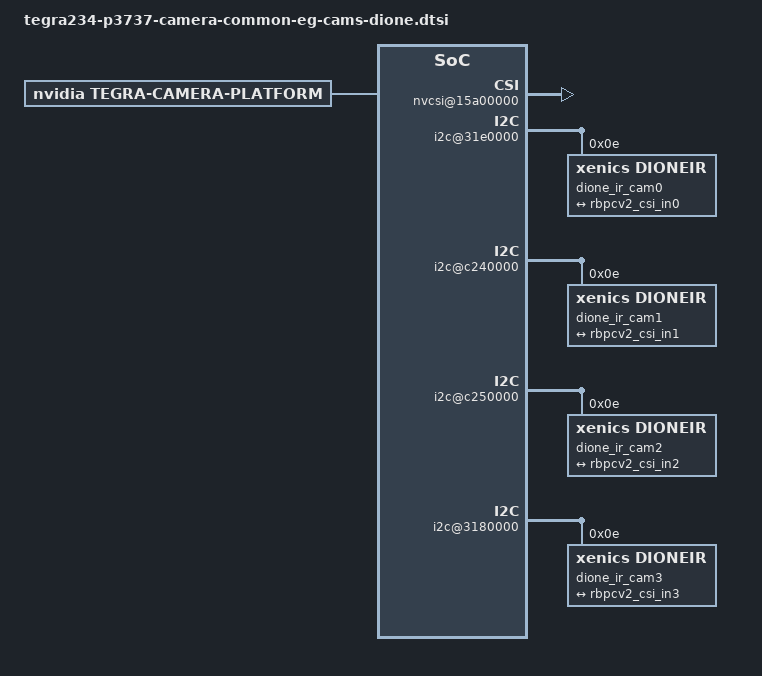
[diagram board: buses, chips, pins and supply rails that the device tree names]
/dts-v1/;
/plugin/;

/ {
	fragment@0 {
		target-path = "/";
		__overlay__ {
			tegra-capture-vi {
				status = "okay";
				num-channels = <4>;
				ports {
					status = "okay";
					#address-cells = <1>;
					#size-cells = <0>;
					port@0 {								//M222 CSI 01		
						status = "okay";
						reg = <0>;
						endpoint {
							status = "okay";
							port-index = <0>;
							bus-width = <2>;
						};
					};
					port@1 {								//M222 CSI 67		
						status = "okay";
						reg = <1>;
						endpoint {
							status = "okay";
							port-index = <5>;
							bus-width = <2>;
						};
					};
					port@2 {								//M222 CSI 45	
						status = "okay";
						reg = <2>;
						endpoint {
							status = "okay";
							port-index = <4>;
							bus-width = <2>;
						};
					};
					port@3 {								//M222 CSI 23
						status = "okay";
						reg = <3>;
						endpoint {
							status = "okay";
							port-index = <2>;
							bus-width = <2>;
						};
					};
				};
			};

			tegra-camera-platform {
				compatible = "nvidia, tegra-camera-platform";

				num_csi_lanes = <8>;
				max_lane_speed = <1500000>;
				min_bits_per_pixel = <10>;
				vi_peak_byte_per_pixel = <2>;
				vi_bw_margin_pct = <25>;
				max_pixel_rate = <240000>;
				isp_peak_byte_per_pixel = <5>;
				isp_bw_margin_pct = <25>;

				modules {
					module0 {
						badge = "topright_eg_cam";
						position = "topright";
						orientation = "1";
						drivernode0 {
							pcl_id = "v4l2_sensor";
							devname = "dione_ir 8-0016";
							proc-device-tree = "/proc/device-tree/i2c@31e0000/xenics_dione_ir_a@0e";
						};
					};
					module1 {
						badge = "bottomright_eg_cam";
						position = "bottomright";
						orientation = "1";
						drivernode0 {
							pcl_id = "v4l2_sensor";
							devname = "dione_ir 1-0016";
							proc-device-tree = "/proc/device-tree/i2c@c240000/xenics_dione_ir_g@0e";
						};
					};
					module2 {
						badge = "topleft_eg_cam";
						position = "topleft";
						orientation = "1";
						drivernode0 {
							pcl_id = "v4l2_sensor";
							devname = "dione_ir 7-0016";
							proc-device-tree = "/proc/device-tree/i2c@c250000/xenics_dione_ir_e@0e";
						};
					};
					module3 {
						badge = "bottomleft_eg_cam";
						position = "bottomleft";
						orientation = "1";
						drivernode0 {
							pcl_id = "v4l2_sensor";
							devname = "dione_ir 2-0016";
							proc-device-tree = "/proc/device-tree/i2c@3180000/xenics_dione_ir_e@0e";
						};
					};
				};
			};

			bus@0 {
				host1x@13e00000 {
					nvcsi@15a00000 {
						status = "okay";
						num-channels = <4>;
						#address-cells = <1>;
						#size-cells = <0>;
						channel@0 {								//M222 CSI 01		
							status = "okay";
							reg = <0>;
							ports {
								status = "okay";
								#address-cells = <1>;
								#size-cells = <0>;
								port@0 {
									status = "okay";
									reg = <0>;
									endpoint@0 {
										status = "okay";
										port-index = <0>;
										bus-width = <2>;
										remote-endpoint = <&xenics_dione_ir_out0>;
									};
								};
							};
						};
						channel@1 {								//M222 CSI 67		
							status = "okay";
							reg = <1>;
							ports {
								status = "okay";
								#address-cells = <1>;
								#size-cells = <0>;
								port@0 {
									status = "okay";
									reg = <0>;
									endpoint@2 {
										status = "okay";
										port-index = <6>;
										bus-width = <2>;
										remote-endpoint = <&xenics_dione_ir_out1>;
									};
								};
							};
						};
						channel@2 {								//M222 CSI 45		
							status = "okay";
							reg = <2>;
							ports {
								status = "okay";
								#address-cells = <1>;
								#size-cells = <0>;
								port@0 {
									status = "okay";
									reg = <0>;
									endpoint@4 {
										status = "okay";
										port-index = <4>;
										bus-width = <2>;
										remote-endpoint = <&xenics_dione_ir_out2>;
									};
								};
							};
						};
						channel@3 {								//M222 CSI 23
							status = "okay";
							reg = <3>;
							ports {
								status = "okay";
								#address-cells = <1>;
								#size-cells = <0>;
								port@0 {
									status = "okay";
									reg = <0>;
									endpoint@6 {
										status = "okay";
										port-index = <2>;
										bus-width = <2>;
										remote-endpoint = <&xenics_dione_ir_out3>;
									};
								};
							};
						};
					};
				};

				i2c@31e0000 {											//M222 CSI 01		
				  dione_ir_cam0: xenics_dione_ir_a@0e {
					 compatible = "xenics,dioneir";
					 /* I2C device address */
					 reg = <0x0e>;
					 fpga-address = <0x5a 0x5b 0x5c 0x5d>;

					 /* V4L2 device node location */
					 devnode = "video0";

					 /* Physical dimensions of sensor */
					 physical_w = "7.680";
					 physical_h = "5.760";

					 sensor_model = "dione_ir";

					 use_sensor_mode_id = "false";

					 /**
					 * ==== Modes ====
					 * A modeX node is required to support v4l2 driver
					 * implementation with NVIDIA camera software stack
					 *
					 * == Signal properties ==
					 *
					 * phy_mode = "";
					 * PHY mode used by the MIPI lanes for this device
					 *
					 * tegra_sinterface = "";
					 * CSI Serial interface connected to tegra
					 * Incase of virtual HW devices, use virtual
					 * For SW emulated devices, use host
					 *
					 * pix_clk_hz = "";
					 * Sensor pixel clock used for calculations like exposure and framerate
					 *
					 * readout_orientation = "0";
					 * Based on camera module orientation.
					 * Only change readout_orientation if you specifically
					 * Program a different readout order for this mode
					 *
					 * == Image format Properties ==
					 *
					 * active_w = "";
					 * Pixel active region width
					 *
					 * active_h = "";
					 * Pixel active region height
					 *
					 * pixel_t = "";
					 * The sensor readout pixel pattern
					 *
					 * line_length = "";
					 * Pixel line length (width) for sensor mode.
					 *
					 * == Source Control Settings ==
					 *
					 * Gain factor used to convert fixed point integer to float
					 * Gain range [min_gain/gain_factor, max_gain/gain_factor]
					 * Gain step [step_gain/gain_factor is the smallest step that can be configured]
					 * Default gain [Default gain to be initialized for the control.
					 *     use min_gain_val as default for optimal results]
					 * Framerate factor used to convert fixed point integer to float
					 * Framerate range [min_framerate/framerate_factor, max_framerate/framerate_factor]
					 * Framerate step [step_framerate/framerate_factor is the smallest step that can be configured]
					 * Default Framerate [Default framerate to be initialized for the control.
					 *     use max_framerate to get required performance]
					 * Exposure factor used to convert fixed point integer to float
					 * For convenience use 1 sec = 1000000us as conversion factor
					 * Exposure range [min_exp_time/exposure_factor, max_exp_time/exposure_factor]
					 * Exposure step [step_exp_time/exposure_factor is the smallest step that can be configured]
					 * Default Exposure Time [Default exposure to be initialized for the control.
					 *     Set default exposure based on the default_framerate for optimal exposure settings]
					 *
					 * gain_factor = ""; (integer factor used for floating to fixed point conversion)
					 * min_gain_val = ""; (ceil to integer)
					 * max_gain_val = ""; (ceil to integer)
					 * step_gain_val = ""; (ceil to integer)
					 * default_gain = ""; (ceil to integer)
					 * Gain limits for mode
					 *
					 * exposure_factor = ""; (integer factor used for floating to fixed point conversion)
					 * min_exp_time = ""; (ceil to integer)
					 * max_exp_time = ""; (ceil to integer)
					 * step_exp_time = ""; (ceil to integer)
					 * default_exp_time = ""; (ceil to integer)
					 * Exposure Time limits for mode (sec)
					 *
					 * framerate_factor = ""; (integer factor used for floating to fixed point conversion)
					 * min_framerate = ""; (ceil to integer)
					 * max_framerate = ""; (ceil to integer)
					 * step_framerate = ""; (ceil to integer)
					 * default_framerate = ""; (ceil to integer)
					 * Framerate limits for mode (fps)
					 *
					 * embedded_metadata_height = "";
					 * Sensor embedded metadata height in units of rows.
					 * If sensor does not support embedded metadata value should be 0.
					 */
					 
					 mode0 { /* DIONE_IR_MODE_640x480_60FPS */
						mclk_khz = "24000";
						num_lanes = "2";
						tegra_sinterface = "serial_a";
						phy_mode = "DPHY";
						discontinuous_clk = "no";
						dpcm_enable = "false";
						cil_settletime = "0";

						active_w = "640";
						active_h = "480";
						mode_type = "rgb";
						pixel_phase = "rgb888";
						csi_pixel_bit_depth = "24";
						readout_orientation = "0";
						line_length = "694";
						/* inherent_gain = "1"; */
						/* mclk_multiplier = "9.33"; */
						pix_clk_hz = "20000000";

						/* unused */
						gain_factor = "16";
						exposure_factor = "1000000";
						min_gain_val = "16"; /* 1.00x */
						max_gain_val = "170"; /* 10.66x */
						step_gain_val = "1";
						default_gain = "16"; /* 1.00x */
						min_hdr_ratio = "1";
						max_hdr_ratio = "1";

						/* framerate */
						framerate_factor = "1000000";
						min_framerate = "40000000"; /* 40 fps */
						max_framerate = "62000000"; /* 62 fps */
						step_framerate = "1";
						default_framerate = "60020000"; /* 60.020 fps */

						/* unused */
						min_exp_time = "13"; /* us */
						max_exp_time = "683709"; /* us */
						step_exp_time = "1";
						default_exp_time = "2495"; /* us */

						embedded_metadata_height = "0";
					 };

					 mode1 { /* DIONE_IR_MODE_1280x1024_60FPS */
						mclk_khz = "24000";
						num_lanes = "2";
						tegra_sinterface = "serial_a";
						phy_mode = "DPHY";
						discontinuous_clk = "no";
						dpcm_enable = "false";
						cil_settletime = "0";

						active_w = "1280";
						active_h = "1024";
						mode_type = "rgb";
						pixel_phase = "rgb888";
						csi_pixel_bit_depth = "24";
						readout_orientation = "0";
						line_length = "1334";
						/* inherent_gain = "1"; */
						/* mclk_multiplier = "9.33"; */
						pix_clk_hz = "83000000";

						/* unused */
						gain_factor = "16";
						exposure_factor = "1000000";
						min_gain_val = "16"; /* 1.00x */
						max_gain_val = "170"; /* 10.66x */
						step_gain_val = "1";
						default_gain = "16"; /* 1.00x */
						min_hdr_ratio = "1";
						max_hdr_ratio = "1";

						/* framerate */
						framerate_factor = "1000000";
						min_framerate = "40000000"; /* 40 fps */
						max_framerate = "62000000"; /* 62 fps */
						step_framerate = "1";
						default_framerate = "60756000"; /* 60.756 fps */

						/* unused */
						min_exp_time = "13"; /* us */
						max_exp_time = "683709"; /* us */
						step_exp_time = "1";
						default_exp_time = "2495"; /* us */

						embedded_metadata_height = "0";
					 };

					 mode2 { /* DIONE_IR_MODE_320x240_60FPS */
						mclk_khz = "24000";
						num_lanes = "2";
						tegra_sinterface = "serial_a";
						phy_mode = "DPHY";
						discontinuous_clk = "no";
						dpcm_enable = "false";
						cil_settletime = "0";

						active_w = "320";
						active_h = "240";
						mode_type = "rgb";
						pixel_phase = "rgb888";
						csi_pixel_bit_depth = "24";
						readout_orientation = "0";
						line_length = "1404";
						/* inherent_gain = "1"; */
						/* mclk_multiplier = "9.33"; */
						pix_clk_hz = "20000000";

						/* unused */
						gain_factor = "16";
						exposure_factor = "1000000";
						min_gain_val = "16"; /* 1.00x */
						max_gain_val = "170"; /* 10.66x */
						step_gain_val = "1";
						default_gain = "16"; /* 1.00x */
						min_hdr_ratio = "1";
						max_hdr_ratio = "1";

						/* framerate */
						framerate_factor = "1000000";
						min_framerate = "40000000"; /* 40 fps */
						max_framerate = "62000000"; /* 62 fps */
						step_framerate = "1";
						default_framerate = "60020000"; /* 60.020 fps */

						/* unused */
						min_exp_time = "13"; /* us */
						max_exp_time = "683709"; /* us */
						step_exp_time = "1";
						default_exp_time = "2495"; /* us */

						embedded_metadata_height = "0";
					 };

					 mode3 { /* DIONE_IR_MODE_1024x768_60FPS */
						mclk_khz = "24000";
						num_lanes = "2";
						tegra_sinterface = "serial_a";
						phy_mode = "DPHY";
						discontinuous_clk = "no";
						dpcm_enable = "false";
						cil_settletime = "0";

						active_w = "1024";
						active_h = "768";
						mode_type = "rgb";
						pixel_phase = "rgb888";
						csi_pixel_bit_depth = "24";
						readout_orientation = "0";
						line_length = "1079";
						/* inherent_gain = "1"; */
						/* mclk_multiplier = "9.33"; */
						pix_clk_hz = "83000000";

						/* unused */
						gain_factor = "16";
						exposure_factor = "1000000";
						min_gain_val = "16"; /* 1.00x */
						max_gain_val = "170"; /* 10.66x */
						step_gain_val = "1";
						default_gain = "16"; /* 1.00x */
						min_hdr_ratio = "1";
						max_hdr_ratio = "1";

						/* framerate */
						framerate_factor = "1000000";
						min_framerate = "40000000"; /* 40 fps */
						max_framerate = "62000000"; /* 62 fps */
						step_framerate = "1";
						default_framerate = "60756000"; /* 60.756 fps */

						/* unused */
						min_exp_time = "13"; /* us */
						max_exp_time = "683709"; /* us */
						step_exp_time = "1";
						default_exp_time = "2495"; /* us */

						embedded_metadata_height = "0";
					 };

					 ports {
						#address-cells = <1>;
						#size-cells = <0>;
						port@0 {
						   reg = <0>;
						   xenics_dione_ir_out0: endpoint {
							  port-index = <0>;
							  bus-width = <2>;
							  remote-endpoint = <&rbpcv2_csi_in0>;
							  link-frequencies = /bits/ 64 <120000000 497000000>;
						   };
						};
					 };
				  };
				  eg_ec_cam0: eg_ec_a@16 {
					 compatible = "xenics,eg-ec-mipi";
					 /* I2C device address */
					 reg = <0x16>;
					 status = "disabled";

					 /* V4L2 device node location */
					 devnode = "video0";

					 sensor_model = "eg_ec";

					 use_sensor_mode_id = "true";

					 /**
					 * ==== Modes ====
					 * A modeX node is required to support v4l2 driver
					 * implementation with NVIDIA camera software stack
					 *
					 * == Signal properties ==
					 *
					 * phy_mode = "";
					 * PHY mode used by the MIPI lanes for this device
					 *
					 * tegra_sinterface = "";
					 * CSI Serial interface connected to tegra
					 * Incase of virtual HW devices, use virtual
					 * For SW emulated devices, use host
					 *
					 * pix_clk_hz = "";
					 * Sensor pixel clock used for calculations like exposure and framerate
					 *
					 * readout_orientation = "0";
					 * Based on camera module orientation.
					 * Only change readout_orientation if you specifically
					 * Program a different readout order for this mode
					 *
					 * == Image format Properties ==
					 *
					 * active_w = "";
					 * Pixel active region width
					 *
					 * active_h = "";
					 * Pixel active region height
					 *
					 * pixel_t = "";
					 * The sensor readout pixel pattern
					 *
					 * line_length = "";
					 * Pixel line length (width) for sensor mode.
					 *
					 * == Source Control Settings ==
					 *
					 * Gain factor used to convert fixed point integer to float
					 * Gain range [min_gain/gain_factor, max_gain/gain_factor]
					 * Gain step [step_gain/gain_factor is the smallest step that can be configured]
					 * Default gain [Default gain to be initialized for the control.
					 *     use min_gain_val as default for optimal results]
					 * Framerate factor used to convert fixed point integer to float
					 * Framerate range [min_framerate/framerate_factor, max_framerate/framerate_factor]
					 * Framerate step [step_framerate/framerate_factor is the smallest step that can be configured]
					 * Default Framerate [Default framerate to be initialized for the control.
					 *     use max_framerate to get required performance]
					 * Exposure factor used to convert fixed point integer to float
					 * For convenience use 1 sec = 1000000us as conversion factor
					 * Exposure range [min_exp_time/exposure_factor, max_exp_time/exposure_factor]
					 * Exposure step [step_exp_time/exposure_factor is the smallest step that can be configured]
					 * Default Exposure Time [Default exposure to be initialized for the control.
					 *     Set default exposure based on the default_framerate for optimal exposure settings]
					 *
					 * gain_factor = ""; (integer factor used for floating to fixed point conversion)
					 * min_gain_val = ""; (ceil to integer)
					 * max_gain_val = ""; (ceil to integer)
					 * step_gain_val = ""; (ceil to integer)
					 * default_gain = ""; (ceil to integer)
					 * Gain limits for mode
					 *
					 * exposure_factor = ""; (integer factor used for floating to fixed point conversion)
					 * min_exp_time = ""; (ceil to integer)
					 * max_exp_time = ""; (ceil to integer)
					 * step_exp_time = ""; (ceil to integer)
					 * default_exp_time = ""; (ceil to integer)
					 * Exposure Time limits for mode (sec)
					 *
					 * framerate_factor = ""; (integer factor used for floating to fixed point conversion)
					 * min_framerate = ""; (ceil to integer)
					 * max_framerate = ""; (ceil to integer)
					 * step_framerate = ""; (ceil to integer)
					 * default_framerate = ""; (ceil to integer)
					 * Framerate limits for mode (fps)
					 *
					 * embedded_metadata_height = "";
					 * Sensor embedded metadata height in units of rows.
					 * If sensor does not support embedded metadata value should be 0.
					 */
					 mode0 { // EC_MODE_640x480_RAW16
						num_lanes = "2";
						tegra_sinterface = "serial_a";
						phy_mode = "DPHY";
						discontinuous_clk = "yes";
						dpcm_enable = "false";
						cil_settletime = "0";
						active_w = "640";
						active_h = "480";
						line_length = "640";
						mode_type = "raw";
						pixel_phase = "grey";
						csi_pixel_bit_depth = "16";
						pix_clk_hz = "100000000";
						embedded_metadata_height = "0";

						/* unused */
						gain_factor = "16";
						exposure_factor = "1000000";
						min_gain_val = "16"; /* 1.00x */
						max_gain_val = "170"; /* 10.66x */
						step_gain_val = "1";
						default_gain = "16"; /* 1.00x */
						min_hdr_ratio = "1";
						max_hdr_ratio = "1";

						/* framerate */
						framerate_factor = "1000000";
						min_framerate = "40000000"; /* 40 fps */
						max_framerate = "62000000"; /* 62 fps */
						step_framerate = "1";
						default_framerate = "60756000"; /* 60.756 fps */

						/* unused */
						min_exp_time = "13"; /* us */
						max_exp_time = "683709"; /* us */
						step_exp_time = "1";
						default_exp_time = "2495"; /* us */
					 };
					 mode1 { // EC_MODE_640x480_RGB888
						num_lanes = "2";
						tegra_sinterface = "serial_a";
						phy_mode = "DPHY";
						discontinuous_clk = "yes";
						dpcm_enable = "false";
						cil_settletime = "0";
						active_w = "640";
						active_h = "480";
						line_length = "640";
						mode_type = "rgb";
						pixel_phase = "rgb888";
						csi_pixel_bit_depth = "24";
						pix_clk_hz = "100000000";
						embedded_metadata_height = "0";

						/* unused */
						gain_factor = "16";
						exposure_factor = "1000000";
						min_gain_val = "16"; /* 1.00x */
						max_gain_val = "170"; /* 10.66x */
						step_gain_val = "1";
						default_gain = "16"; /* 1.00x */
						min_hdr_ratio = "1";
						max_hdr_ratio = "1";

						/* framerate */
						framerate_factor = "1000000";
						min_framerate = "40000000"; /* 40 fps */
						max_framerate = "62000000"; /* 62 fps */
						step_framerate = "1";
						default_framerate = "60756000"; /* 60.756 fps */

						/* unused */
						min_exp_time = "13"; /* us */
						max_exp_time = "683709"; /* us */
						step_exp_time = "1";
						default_exp_time = "2495"; /* us */

					 };
					 mode2 { // EC_MODE_640x480_YUYV
						num_lanes = "2";
						tegra_sinterface = "serial_a";
						phy_mode = "DPHY";
						discontinuous_clk = "yes";
						dpcm_enable = "false";
						cil_settletime = "0";
						active_w = "640";
						active_h = "480";
						line_length = "640";
						mode_type = "yuv";
						pixel_phase = "yuyv";
						csi_pixel_bit_depth = "16";
						pix_clk_hz = "100000000";
						embedded_metadata_height = "0";

						/* unused */
						gain_factor = "16";
						exposure_factor = "1000000";
						min_gain_val = "16"; /* 1.00x */
						max_gain_val = "170"; /* 10.66x */
						step_gain_val = "1";
						default_gain = "16"; /* 1.00x */
						min_hdr_ratio = "1";
						max_hdr_ratio = "1";

						/* framerate */
						framerate_factor = "1000000";
						min_framerate = "40000000"; /* 40 fps */
						max_framerate = "62000000"; /* 62 fps */
						step_framerate = "1";
						default_framerate = "60756000"; /* 60.756 fps */

						/* unused */
						min_exp_time = "13"; /* us */
						max_exp_time = "683709"; /* us */
						step_exp_time = "1";
						default_exp_time = "2495"; /* us */
					 };
					 mode3 { // EC_MODE_1280x1024_RAW16
						num_lanes = "2";
						tegra_sinterface = "serial_a";
						phy_mode = "DPHY";
						discontinuous_clk = "yes";
						dpcm_enable = "false";
						cil_settletime = "0";
						active_w = "1280";
						active_h = "1024";
						line_length = "1280";
						mode_type = "raw";
						pixel_phase = "grey";
						csi_pixel_bit_depth = "16";
						pix_clk_hz = "133333336";
						embedded_metadata_height = "0";

						/* unused */
						gain_factor = "16";
						exposure_factor = "1000000";
						min_gain_val = "16"; /* 1.00x */
						max_gain_val = "170"; /* 10.66x */
						step_gain_val = "1";
						default_gain = "16"; /* 1.00x */
						min_hdr_ratio = "1";
						max_hdr_ratio = "1";

						/* framerate */
						framerate_factor = "1000000";
						min_framerate = "40000000"; /* 40 fps */
						max_framerate = "62000000"; /* 62 fps */
						step_framerate = "1";
						default_framerate = "60756000"; /* 60.756 fps */

						/* unused */
						min_exp_time = "13"; /* us */
						max_exp_time = "683709"; /* us */
						step_exp_time = "1";
						default_exp_time = "2495"; /* us */
					 };
					 mode4 { // EC_MODE_1280x1024_RGB888
						num_lanes = "2";
						tegra_sinterface = "serial_a";
						phy_mode = "DPHY";
						discontinuous_clk = "yes";
						dpcm_enable = "false";
						cil_settletime = "0";
						active_w = "1280";
						active_h = "1024";
						line_length = "1280";
						mode_type = "rgb";
						pixel_phase = "rgb888";
						csi_pixel_bit_depth = "24";
						pix_clk_hz = "100000000";
						embedded_metadata_height = "0";

						/* unused */
						gain_factor = "16";
						exposure_factor = "1000000";
						min_gain_val = "16"; /* 1.00x */
						max_gain_val = "170"; /* 10.66x */
						step_gain_val = "1";
						default_gain = "16"; /* 1.00x */
						min_hdr_ratio = "1";
						max_hdr_ratio = "1";

						/* framerate */
						framerate_factor = "1000000";
						min_framerate = "40000000"; /* 40 fps */
						max_framerate = "62000000"; /* 62 fps */
						step_framerate = "1";
						default_framerate = "60756000"; /* 60.756 fps */

						/* unused */
						min_exp_time = "13"; /* us */
						max_exp_time = "683709"; /* us */
						step_exp_time = "1";
						default_exp_time = "2495"; /* us */
					 };
					 mode5 { // EC_MODE_1280x1024_YUYV
						num_lanes = "2";
						tegra_sinterface = "serial_a";
						phy_mode = "DPHY";
						discontinuous_clk = "yes";
						dpcm_enable = "false";
						cil_settletime = "0";
						active_w = "1280";
						active_h = "1024";
						line_length = "1280";
						mode_type = "yuv";
						pixel_phase = "yuyv";
						csi_pixel_bit_depth = "16";
						pix_clk_hz = "133333336";
						embedded_metadata_height = "0";

						/* unused */
						gain_factor = "16";
						exposure_factor = "1000000";
						min_gain_val = "16"; /* 1.00x */
						max_gain_val = "170"; /* 10.66x */
						step_gain_val = "1";
						default_gain = "16"; /* 1.00x */
						min_hdr_ratio = "1";
						max_hdr_ratio = "1";

						/* framerate */
						framerate_factor = "1000000";
						min_framerate = "40000000"; /* 40 fps */
						max_framerate = "62000000"; /* 62 fps */
						step_framerate = "1";
						default_framerate = "60756000"; /* 60.756 fps */

						/* unused */
						min_exp_time = "13"; /* us */
						max_exp_time = "683709"; /* us */
						step_exp_time = "1";
						default_exp_time = "2495"; /* us */
					 };

					 ports {
						#address-cells = <1>;
						#size-cells = <0>;
						port@0 {
						   reg = <0>;
						   eg_ec_out0: endpoint {
							  port-index = <0>;
							  bus-width = <2>;
							  remote-endpoint = <&rbpcv2_csi_in0>;
						   };
						};
					 };
				  };
				};
				i2c@c240000 {												//M222 CSI 67			
				  dione_ir_cam1: xenics_dione_ir_g@0e {
					 compatible = "xenics,dioneir";
					 reg = <0x0e>;
					 fpga-address = <0x5a 0x5b 0x5c 0x5d>;

					 // V4L2 device node location
					 devnode = "video1";

					 /* Physical dimensions of sensor */
					 physical_w = "7.680";
					 physical_h = "5.760";

					 sensor_model = "dione_ir";

					 use_sensor_mode_id = "false";

					 mode0 { /* DIONE_IR_MODE_640x480_60FPS */
						mclk_khz = "24000";
						num_lanes = "2";
						tegra_sinterface = "serial_g";
						phy_mode = "DPHY";
						discontinuous_clk = "no";
						dpcm_enable = "false";
						cil_settletime = "0";

						active_w = "640";
						active_h = "480";
						mode_type = "rgb";
						pixel_phase = "rgb888";
						csi_pixel_bit_depth = "24";
						readout_orientation = "0";
						line_length = "694";
						/* inherent_gain = "1"; */
						/* mclk_multiplier = "9.33"; */
						pix_clk_hz = "20000000";

						/* unused */
						gain_factor = "16";
						exposure_factor = "1000000";
						min_gain_val = "16"; /* 1.00x */
						max_gain_val = "170"; /* 10.66x */
						step_gain_val = "1";
						default_gain = "16"; /* 1.00x */
						min_hdr_ratio = "1";
						max_hdr_ratio = "1";

						/* framerate */
						framerate_factor = "1000000";
						min_framerate = "40000000"; /* 40 fps */
						max_framerate = "62000000"; /* 62 fps */
						step_framerate = "1";
						default_framerate = "60020000"; /* 60.020 fps */

						/* unused */
						min_exp_time = "13"; /* us */
						max_exp_time = "683709"; /* us */
						step_exp_time = "1";
						default_exp_time = "2495"; /* us */

						embedded_metadata_height = "0";
					 };

					 mode1 { /* DIONE_IR_MODE_1280x1024_60FPS */
						mclk_khz = "24000";
						num_lanes = "2";
						tegra_sinterface = "serial_g";
						phy_mode = "DPHY";
						discontinuous_clk = "no";
						dpcm_enable = "false";
						cil_settletime = "0";

						active_w = "1280";
						active_h = "1024";
						mode_type = "rgb";
						pixel_phase = "rgb888";
						csi_pixel_bit_depth = "24";
						readout_orientation = "0";
						line_length = "1334";
						/* inherent_gain = "1"; */
						/* mclk_multiplier = "9.33"; */
						pix_clk_hz = "83000000";

						/* unused */
						gain_factor = "16";
						exposure_factor = "1000000";
						min_gain_val = "16"; /* 1.00x */
						max_gain_val = "170"; /* 10.66x */
						step_gain_val = "1";
						default_gain = "16"; /* 1.00x */
						min_hdr_ratio = "1";
						max_hdr_ratio = "1";

						/* framerate */
						framerate_factor = "1000000";
						min_framerate = "40000000"; /* 40 fps */
						max_framerate = "62000000"; /* 62 fps */
						step_framerate = "1";
						default_framerate = "60756000"; /* 60.756 fps */

						/* unused */
						min_exp_time = "13"; /* us */
						max_exp_time = "683709"; /* us */
						step_exp_time = "1";
						default_exp_time = "2495"; /* us */

						embedded_metadata_height = "0";
					 };

					 mode2 { /* DIONE_IR_MODE_320x240_60FPS */
						mclk_khz = "24000";
						num_lanes = "2";
						tegra_sinterface = "serial_g";
						phy_mode = "DPHY";
						discontinuous_clk = "no";
						dpcm_enable = "false";
						cil_settletime = "0";

						active_w = "320";
						active_h = "240";
						mode_type = "rgb";
						pixel_phase = "rgb888";
						csi_pixel_bit_depth = "24";
						readout_orientation = "0";
						line_length = "1404";
						/* inherent_gain = "1"; */
						/* mclk_multiplier = "9.33"; */
						pix_clk_hz = "20000000";

						/* unused */
						gain_factor = "16";
						exposure_factor = "1000000";
						min_gain_val = "16"; /* 1.00x */
						max_gain_val = "170"; /* 10.66x */
						step_gain_val = "1";
						default_gain = "16"; /* 1.00x */
						min_hdr_ratio = "1";
						max_hdr_ratio = "1";

						/* framerate */
						framerate_factor = "1000000";
						min_framerate = "40000000"; /* 40 fps */
						max_framerate = "62000000"; /* 62 fps */
						step_framerate = "1";
						default_framerate = "60020000"; /* 60.020 fps */

						/* unused */
						min_exp_time = "13"; /* us */
						max_exp_time = "683709"; /* us */
						step_exp_time = "1";
						default_exp_time = "2495"; /* us */

						embedded_metadata_height = "0";
					 };

					 mode3 { /* DIONE_IR_MODE_1024x768_60FPS */
						mclk_khz = "24000";
						num_lanes = "2";
						tegra_sinterface = "serial_g";
						phy_mode = "DPHY";
						discontinuous_clk = "no";
						dpcm_enable = "false";
						cil_settletime = "0";

						active_w = "1024";
						active_h = "768";
						mode_type = "rgb";
						pixel_phase = "rgb888";
						csi_pixel_bit_depth = "24";
						readout_orientation = "0";
						line_length = "1079";
						/* inherent_gain = "1"; */
						/* mclk_multiplier = "9.33"; */
						pix_clk_hz = "83000000";

						/* unused */
						gain_factor = "16";
						exposure_factor = "1000000";
						min_gain_val = "16"; /* 1.00x */
						max_gain_val = "170"; /* 10.66x */
						step_gain_val = "1";
						default_gain = "16"; /* 1.00x */
						min_hdr_ratio = "1";
						max_hdr_ratio = "1";

						/* framerate */
						framerate_factor = "1000000";
						min_framerate = "40000000"; /* 40 fps */
						max_framerate = "62000000"; /* 62 fps */
						step_framerate = "1";
						default_framerate = "60756000"; /* 60.756 fps */

						/* unused */
						min_exp_time = "13"; /* us */
						max_exp_time = "683709"; /* us */
						step_exp_time = "1";
						default_exp_time = "2495"; /* us */

						embedded_metadata_height = "0";
					 };

					 ports {
						#address-cells = <1>;
						#size-cells = <0>;
						port@0 {
						   reg = <0>;
						   xenics_dione_ir_out1: endpoint {
							  port-index = <6>;
							  bus-width = <2>;
							  remote-endpoint = <&rbpcv2_csi_in1>;
							  link-frequencies = /bits/ 64 <120000000 497000000>;
						   };
						};
					 };
				  };
				  eg_ec_cam1: eg_ec_g@16 {
					 compatible = "xenics,eg-ec-mipi";
					 reg = <0x16>;
					 status = "disabled";

					 // V4L2 device node location
					 devnode = "video1";

					 sensor_model = "eg_ec";

					 use_sensor_mode_id = "true";

					 mode0 { // EC_MODE_640x480_RAW16
						num_lanes = "2";
						tegra_sinterface = "serial_g";
						phy_mode = "DPHY";
						discontinuous_clk = "yes";
						dpcm_enable = "false";
						cil_settletime = "0";
						active_w = "640";
						active_h = "480";
						line_length = "640";
						mode_type = "raw";
						pixel_phase = "grey";
						csi_pixel_bit_depth = "16";
						pix_clk_hz = "100000000";
						embedded_metadata_height = "0";

						/* unused */
						gain_factor = "16";
						exposure_factor = "1000000";
						min_gain_val = "16"; /* 1.00x */
						max_gain_val = "170"; /* 10.66x */
						step_gain_val = "1";
						default_gain = "16"; /* 1.00x */
						min_hdr_ratio = "1";
						max_hdr_ratio = "1";

						/* framerate */
						framerate_factor = "1000000";
						min_framerate = "40000000"; /* 40 fps */
						max_framerate = "62000000"; /* 62 fps */
						step_framerate = "1";
						default_framerate = "60756000"; /* 60.756 fps */

						/* unused */
						min_exp_time = "13"; /* us */
						max_exp_time = "683709"; /* us */
						step_exp_time = "1";
						default_exp_time = "2495"; /* us */
					 };
					 mode1 { // EC_MODE_640x480_RGB888
						num_lanes = "2";
						tegra_sinterface = "serial_g";
						phy_mode = "DPHY";
						discontinuous_clk = "yes";
						dpcm_enable = "false";
						cil_settletime = "0";
						active_w = "640";
						active_h = "480";
						line_length = "640";
						mode_type = "rgb";
						pixel_phase = "rgb888";
						csi_pixel_bit_depth = "24";
						pix_clk_hz = "100000000";
						embedded_metadata_height = "0";

						/* unused */
						gain_factor = "16";
						exposure_factor = "1000000";
						min_gain_val = "16"; /* 1.00x */
						max_gain_val = "170"; /* 10.66x */
						step_gain_val = "1";
						default_gain = "16"; /* 1.00x */
						min_hdr_ratio = "1";
						max_hdr_ratio = "1";

						/* framerate */
						framerate_factor = "1000000";
						min_framerate = "40000000"; /* 40 fps */
						max_framerate = "62000000"; /* 62 fps */
						step_framerate = "1";
						default_framerate = "60756000"; /* 60.756 fps */

						/* unused */
						min_exp_time = "13"; /* us */
						max_exp_time = "683709"; /* us */
						step_exp_time = "1";
						default_exp_time = "2495"; /* us */

					 };
					 mode2 { // EC_MODE_640x480_YUYV
						num_lanes = "2";
						tegra_sinterface = "serial_g";
						phy_mode = "DPHY";
						discontinuous_clk = "yes";
						dpcm_enable = "false";
						cil_settletime = "0";
						active_w = "640";
						active_h = "480";
						line_length = "640";
						mode_type = "yuv";
						pixel_phase = "yuyv";
						csi_pixel_bit_depth = "16";
						pix_clk_hz = "100000000";
						embedded_metadata_height = "0";

						/* unused */
						gain_factor = "16";
						exposure_factor = "1000000";
						min_gain_val = "16"; /* 1.00x */
						max_gain_val = "170"; /* 10.66x */
						step_gain_val = "1";
						default_gain = "16"; /* 1.00x */
						min_hdr_ratio = "1";
						max_hdr_ratio = "1";

						/* framerate */
						framerate_factor = "1000000";
						min_framerate = "40000000"; /* 40 fps */
						max_framerate = "62000000"; /* 62 fps */
						step_framerate = "1";
						default_framerate = "60756000"; /* 60.756 fps */

						/* unused */
						min_exp_time = "13"; /* us */
						max_exp_time = "683709"; /* us */
						step_exp_time = "1";
						default_exp_time = "2495"; /* us */
					 };
					 mode3 { // EC_MODE_1280x1024_RAW16
						num_lanes = "2";
						tegra_sinterface = "serial_g";
						phy_mode = "DPHY";
						discontinuous_clk = "yes";
						dpcm_enable = "false";
						cil_settletime = "0";
						active_w = "1280";
						active_h = "1024";
						line_length = "1280";
						mode_type = "raw";
						pixel_phase = "grey";
						csi_pixel_bit_depth = "16";
						pix_clk_hz = "133333336";
						embedded_metadata_height = "0";

						/* unused */
						gain_factor = "16";
						exposure_factor = "1000000";
						min_gain_val = "16"; /* 1.00x */
						max_gain_val = "170"; /* 10.66x */
						step_gain_val = "1";
						default_gain = "16"; /* 1.00x */
						min_hdr_ratio = "1";
						max_hdr_ratio = "1";

						/* framerate */
						framerate_factor = "1000000";
						min_framerate = "40000000"; /* 40 fps */
						max_framerate = "62000000"; /* 62 fps */
						step_framerate = "1";
						default_framerate = "60756000"; /* 60.756 fps */

						/* unused */
						min_exp_time = "13"; /* us */
						max_exp_time = "683709"; /* us */
						step_exp_time = "1";
						default_exp_time = "2495"; /* us */
					 };
					 mode4 { // EC_MODE_1280x1024_RGB888
						num_lanes = "2";
						tegra_sinterface = "serial_g";
						phy_mode = "DPHY";
						discontinuous_clk = "yes";
						dpcm_enable = "false";
						cil_settletime = "0";
						active_w = "1280";
						active_h = "1024";
						line_length = "1280";
						mode_type = "rgb";
						pixel_phase = "rgb888";
						csi_pixel_bit_depth = "24";
						pix_clk_hz = "100000000";
						embedded_metadata_height = "0";

						/* unused */
						gain_factor = "16";
						exposure_factor = "1000000";
						min_gain_val = "16"; /* 1.00x */
						max_gain_val = "170"; /* 10.66x */
						step_gain_val = "1";
						default_gain = "16"; /* 1.00x */
						min_hdr_ratio = "1";
						max_hdr_ratio = "1";

						/* framerate */
						framerate_factor = "1000000";
						min_framerate = "40000000"; /* 40 fps */
						max_framerate = "62000000"; /* 62 fps */
						step_framerate = "1";
						default_framerate = "60756000"; /* 60.756 fps */

						/* unused */
						min_exp_time = "13"; /* us */
						max_exp_time = "683709"; /* us */
						step_exp_time = "1";
						default_exp_time = "2495"; /* us */
					 };
					 mode5 { // EC_MODE_1280x1024_YUYV
						num_lanes = "2";
						tegra_sinterface = "serial_g";
						phy_mode = "DPHY";
						discontinuous_clk = "yes";
						dpcm_enable = "false";
						cil_settletime = "0";
						active_w = "1280";
						active_h = "1024";
						line_length = "1280";
						mode_type = "yuv";
						pixel_phase = "yuyv";
						csi_pixel_bit_depth = "16";
						pix_clk_hz = "133333336";
						embedded_metadata_height = "0";

						/* unused */
						gain_factor = "16";
						exposure_factor = "1000000";
						min_gain_val = "16"; /* 1.00x */
						max_gain_val = "170"; /* 10.66x */
						step_gain_val = "1";
						default_gain = "16"; /* 1.00x */
						min_hdr_ratio = "1";
						max_hdr_ratio = "1";

						/* framerate */
						framerate_factor = "1000000";
						min_framerate = "40000000"; /* 40 fps */
						max_framerate = "62000000"; /* 62 fps */
						step_framerate = "1";
						default_framerate = "60756000"; /* 60.756 fps */

						/* unused */
						min_exp_time = "13"; /* us */
						max_exp_time = "683709"; /* us */
						step_exp_time = "1";
						default_exp_time = "2495"; /* us */
					 };
					 ports {
						#address-cells = <1>;
						#size-cells = <0>;
						port@0 {
						   reg = <0>;
						   eg_ec_out1: endpoint {
							  port-index = <6>;
							  bus-width = <2>;
							  remote-endpoint = <&rbpcv2_csi_in1>;
						   };
						};
					 };
				  };
				};
				i2c@c250000 {												//M222 CSI 45	
				  dione_ir_cam2: xenics_dione_ir_e@0e {
					 compatible = "xenics,dioneir";
					 reg = <0x0e>;
					 fpga-address = <0x5a 0x5b 0x5c 0x5d>;

					 // V4L2 device node location
					 devnode = "video2";

					 /* Physical dimensions of sensor */
					 physical_w = "7.680";
					 physical_h = "5.760";

					 sensor_model = "dione_ir";

					 use_sensor_mode_id = "false";

					 mode0 { /* DIONE_IR_MODE_640x480_60FPS */
						mclk_khz = "24000";
						num_lanes = "2";
						tegra_sinterface = "serial_e";
						phy_mode = "DPHY";
						discontinuous_clk = "no";
						dpcm_enable = "false";
						cil_settletime = "0";

						active_w = "640";
						active_h = "480";
						mode_type = "rgb";
						pixel_phase = "rgb888";
						csi_pixel_bit_depth = "24";
						readout_orientation = "0";
						line_length = "694";
						/* inherent_gain = "1"; */
						/* mclk_multiplier = "9.33"; */
						pix_clk_hz = "20000000";

						/* unused */
						gain_factor = "16";
						exposure_factor = "1000000";
						min_gain_val = "16"; /* 1.00x */
						max_gain_val = "170"; /* 10.66x */
						step_gain_val = "1";
						default_gain = "16"; /* 1.00x */
						min_hdr_ratio = "1";
						max_hdr_ratio = "1";

						/* framerate */
						framerate_factor = "1000000";
						min_framerate = "40000000"; /* 40 fps */
						max_framerate = "62000000"; /* 62 fps */
						step_framerate = "1";
						default_framerate = "60020000"; /* 60.020 fps */

						/* unused */
						min_exp_time = "13"; /* us */
						max_exp_time = "683709"; /* us */
						step_exp_time = "1";
						default_exp_time = "2495"; /* us */

						embedded_metadata_height = "0";
					 };

					 mode1 { /* DIONE_IR_MODE_1280x1024_60FPS */
						mclk_khz = "24000";
						num_lanes = "2";
						tegra_sinterface = "serial_e";
						phy_mode = "DPHY";
						discontinuous_clk = "no";
						dpcm_enable = "false";
						cil_settletime = "0";

						active_w = "1280";
						active_h = "1024";
						mode_type = "rgb";
						pixel_phase = "rgb888";
						csi_pixel_bit_depth = "24";
						readout_orientation = "0";
						line_length = "1334";
						/* inherent_gain = "1"; */
						/* mclk_multiplier = "9.33"; */
						pix_clk_hz = "83000000";

						/* unused */
						gain_factor = "16";
						exposure_factor = "1000000";
						min_gain_val = "16"; /* 1.00x */
						max_gain_val = "170"; /* 10.66x */
						step_gain_val = "1";
						default_gain = "16"; /* 1.00x */
						min_hdr_ratio = "1";
						max_hdr_ratio = "1";

						/* framerate */
						framerate_factor = "1000000";
						min_framerate = "40000000"; /* 40 fps */
						max_framerate = "62000000"; /* 62 fps */
						step_framerate = "1";
						default_framerate = "60756000"; /* 60.756 fps */

						/* unused */
						min_exp_time = "13"; /* us */
						max_exp_time = "683709"; /* us */
						step_exp_time = "1";
						default_exp_time = "2495"; /* us */

						embedded_metadata_height = "0";
					 };

					 mode2 { /* DIONE_IR_MODE_320x240_60FPS */
						mclk_khz = "24000";
						num_lanes = "2";
						tegra_sinterface = "serial_e";
						phy_mode = "DPHY";
						discontinuous_clk = "no";
						dpcm_enable = "false";
						cil_settletime = "0";

						active_w = "320";
						active_h = "240";
						mode_type = "rgb";
						pixel_phase = "rgb888";
						csi_pixel_bit_depth = "24";
						readout_orientation = "0";
						line_length = "1404";
						/* inherent_gain = "1"; */
						/* mclk_multiplier = "9.33"; */
						pix_clk_hz = "20000000";

						/* unused */
						gain_factor = "16";
						exposure_factor = "1000000";
						min_gain_val = "16"; /* 1.00x */
						max_gain_val = "170"; /* 10.66x */
						step_gain_val = "1";
						default_gain = "16"; /* 1.00x */
						min_hdr_ratio = "1";
						max_hdr_ratio = "1";

						/* framerate */
						framerate_factor = "1000000";
						min_framerate = "40000000"; /* 40 fps */
						max_framerate = "62000000"; /* 62 fps */
						step_framerate = "1";
						default_framerate = "60020000"; /* 60.020 fps */

						/* unused */
						min_exp_time = "13"; /* us */
						max_exp_time = "683709"; /* us */
						step_exp_time = "1";
						default_exp_time = "2495"; /* us */

						embedded_metadata_height = "0";
					 };

					 mode3 { /* DIONE_IR_MODE_1024x768_60FPS */
						mclk_khz = "24000";
						num_lanes = "2";
						tegra_sinterface = "serial_e";
						phy_mode = "DPHY";
						discontinuous_clk = "no";
						dpcm_enable = "false";
						cil_settletime = "0";

						active_w = "1024";
						active_h = "768";
						mode_type = "rgb";
						pixel_phase = "rgb888";
						csi_pixel_bit_depth = "24";
						readout_orientation = "0";
						line_length = "1079";
						/* inherent_gain = "1"; */
						/* mclk_multiplier = "9.33"; */
						pix_clk_hz = "83000000";

						/* unused */
						gain_factor = "16";
						exposure_factor = "1000000";
						min_gain_val = "16"; /* 1.00x */
						max_gain_val = "170"; /* 10.66x */
						step_gain_val = "1";
						default_gain = "16"; /* 1.00x */
						min_hdr_ratio = "1";
						max_hdr_ratio = "1";

						/* framerate */
						framerate_factor = "1000000";
						min_framerate = "40000000"; /* 40 fps */
						max_framerate = "62000000"; /* 62 fps */
						step_framerate = "1";
						default_framerate = "60756000"; /* 60.756 fps */

						/* unused */
						min_exp_time = "13"; /* us */
						max_exp_time = "683709"; /* us */
						step_exp_time = "1";
						default_exp_time = "2495"; /* us */

						embedded_metadata_height = "0";
					 };

					 ports {
						#address-cells = <1>;
						#size-cells = <0>;
						port@0 {
						   reg = <0>;
						   xenics_dione_ir_out2: endpoint {
							  port-index = <4>;
							  bus-width = <2>;
							  remote-endpoint = <&rbpcv2_csi_in2>;
							  link-frequencies = /bits/ 64 <120000000 497000000>;
						   };
						};
					 };
				  };
				  eg_ec_cam2: eg_ec_e@16 {
					 compatible = "xenics,eg-ec-mipi";
					 reg = <0x16>;
					 status = "disabled";

					 // V4L2 device node location
					 devnode = "video2";

					 sensor_model = "eg_ec";

					 use_sensor_mode_id = "true";

					 mode0 { // EC_MODE_640x480_RAW16
						num_lanes = "2";
						tegra_sinterface = "serial_e";
						phy_mode = "DPHY";
						discontinuous_clk = "yes";
						dpcm_enable = "false";
						cil_settletime = "0";
						active_w = "640";
						active_h = "480";
						line_length = "640";
						mode_type = "raw";
						pixel_phase = "grey";
						csi_pixel_bit_depth = "16";
						pix_clk_hz = "100000000";
						embedded_metadata_height = "0";

						/* unused */
						gain_factor = "16";
						exposure_factor = "1000000";
						min_gain_val = "16"; /* 1.00x */
						max_gain_val = "170"; /* 10.66x */
						step_gain_val = "1";
						default_gain = "16"; /* 1.00x */
						min_hdr_ratio = "1";
						max_hdr_ratio = "1";

						/* framerate */
						framerate_factor = "1000000";
						min_framerate = "40000000"; /* 40 fps */
						max_framerate = "62000000"; /* 62 fps */
						step_framerate = "1";
						default_framerate = "60756000"; /* 60.756 fps */

						/* unused */
						min_exp_time = "13"; /* us */
						max_exp_time = "683709"; /* us */
						step_exp_time = "1";
						default_exp_time = "2495"; /* us */
					 };
					 mode1 { // EC_MODE_640x480_RGB888
						num_lanes = "2";
						tegra_sinterface = "serial_e";
						phy_mode = "DPHY";
						discontinuous_clk = "yes";
						dpcm_enable = "false";
						cil_settletime = "0";
						active_w = "640";
						active_h = "480";
						line_length = "640";
						mode_type = "rgb";
						pixel_phase = "rgb888";
						csi_pixel_bit_depth = "24";
						pix_clk_hz = "100000000";
						embedded_metadata_height = "0";

						/* unused */
						gain_factor = "16";
						exposure_factor = "1000000";
						min_gain_val = "16"; /* 1.00x */
						max_gain_val = "170"; /* 10.66x */
						step_gain_val = "1";
						default_gain = "16"; /* 1.00x */
						min_hdr_ratio = "1";
						max_hdr_ratio = "1";

						/* framerate */
						framerate_factor = "1000000";
						min_framerate = "40000000"; /* 40 fps */
						max_framerate = "62000000"; /* 62 fps */
						step_framerate = "1";
						default_framerate = "60756000"; /* 60.756 fps */

						/* unused */
						min_exp_time = "13"; /* us */
						max_exp_time = "683709"; /* us */
						step_exp_time = "1";
						default_exp_time = "2495"; /* us */
					 };
					 mode2 { // EC_MODE_640x480_YUYV
						num_lanes = "2";
						tegra_sinterface = "serial_e";
						phy_mode = "DPHY";
						discontinuous_clk = "yes";
						dpcm_enable = "false";
						cil_settletime = "0";
						active_w = "640";
						active_h = "480";
						line_length = "640";
						mode_type = "yuv";
						pixel_phase = "yuyv";
						csi_pixel_bit_depth = "16";
						pix_clk_hz = "100000000";
						embedded_metadata_height = "0";

						/* unused */
						gain_factor = "16";
						exposure_factor = "1000000";
						min_gain_val = "16"; /* 1.00x */
						max_gain_val = "170"; /* 10.66x */
						step_gain_val = "1";
						default_gain = "16"; /* 1.00x */
						min_hdr_ratio = "1";
						max_hdr_ratio = "1";

						/* framerate */
						framerate_factor = "1000000";
						min_framerate = "40000000"; /* 40 fps */
						max_framerate = "62000000"; /* 62 fps */
						step_framerate = "1";
						default_framerate = "60756000"; /* 60.756 fps */

						/* unused */
						min_exp_time = "13"; /* us */
						max_exp_time = "683709"; /* us */
						step_exp_time = "1";
						default_exp_time = "2495"; /* us */
					 };
					 mode3 { // EC_MODE_1280x1024_RAW16
						num_lanes = "2";
						tegra_sinterface = "serial_e";
						phy_mode = "DPHY";
						discontinuous_clk = "yes";
						dpcm_enable = "false";
						cil_settletime = "0";
						active_w = "1280";
						active_h = "1024";
						line_length = "1280";
						mode_type = "raw";
						pixel_phase = "grey";
						csi_pixel_bit_depth = "16";
						pix_clk_hz = "133333336";
						embedded_metadata_height = "0";

						/* unused */
						gain_factor = "16";
						exposure_factor = "1000000";
						min_gain_val = "16"; /* 1.00x */
						max_gain_val = "170"; /* 10.66x */
						step_gain_val = "1";
						default_gain = "16"; /* 1.00x */
						min_hdr_ratio = "1";
						max_hdr_ratio = "1";

						/* framerate */
						framerate_factor = "1000000";
						min_framerate = "40000000"; /* 40 fps */
						max_framerate = "62000000"; /* 62 fps */
						step_framerate = "1";
						default_framerate = "60756000"; /* 60.756 fps */

						/* unused */
						min_exp_time = "13"; /* us */
						max_exp_time = "683709"; /* us */
						step_exp_time = "1";
						default_exp_time = "2495"; /* us */
					 };
					 mode4 { // EC_MODE_1280x1024_RGB888
						num_lanes = "2";
						tegra_sinterface = "serial_e";
						phy_mode = "DPHY";
						discontinuous_clk = "yes";
						dpcm_enable = "false";
						cil_settletime = "0";
						active_w = "1280";
						active_h = "1024";
						line_length = "1280";
						mode_type = "rgb";
						pixel_phase = "rgb888";
						csi_pixel_bit_depth = "24";
						pix_clk_hz = "100000000";
						embedded_metadata_height = "0";

						/* unused */
						gain_factor = "16";
						exposure_factor = "1000000";
						min_gain_val = "16"; /* 1.00x */
						max_gain_val = "170"; /* 10.66x */
						step_gain_val = "1";
						default_gain = "16"; /* 1.00x */
						min_hdr_ratio = "1";
						max_hdr_ratio = "1";

						/* framerate */
						framerate_factor = "1000000";
						min_framerate = "40000000"; /* 40 fps */
						max_framerate = "62000000"; /* 62 fps */
						step_framerate = "1";
						default_framerate = "60756000"; /* 60.756 fps */

						/* unused */
						min_exp_time = "13"; /* us */
						max_exp_time = "683709"; /* us */
						step_exp_time = "1";
						default_exp_time = "2495"; /* us */
					 };
					 mode5 { // EC_MODE_1280x1024_YUYV
						num_lanes = "2";
						tegra_sinterface = "serial_e";
						phy_mode = "DPHY";
						discontinuous_clk = "yes";
						dpcm_enable = "false";
						cil_settletime = "0";
						active_w = "1280";
						active_h = "1024";
						line_length = "1280";
						mode_type = "yuv";
						pixel_phase = "yuyv";
						csi_pixel_bit_depth = "16";
						pix_clk_hz = "133333336";
						embedded_metadata_height = "0";

						/* unused */
						gain_factor = "16";
						exposure_factor = "1000000";
						min_gain_val = "16"; /* 1.00x */
						max_gain_val = "170"; /* 10.66x */
						step_gain_val = "1";
						default_gain = "16"; /* 1.00x */
						min_hdr_ratio = "1";
						max_hdr_ratio = "1";

						/* framerate */
						framerate_factor = "1000000";
						min_framerate = "40000000"; /* 40 fps */
						max_framerate = "62000000"; /* 62 fps */
						step_framerate = "1";
						default_framerate = "60756000"; /* 60.756 fps */

						/* unused */
						min_exp_time = "13"; /* us */
						max_exp_time = "683709"; /* us */
						step_exp_time = "1";
						default_exp_time = "2495"; /* us */
					 };
					 ports {
						#address-cells = <1>;
						#size-cells = <0>;
						port@0 {
						   reg = <0>;
						   eg_ec_out2: endpoint {
							  port-index = <4>;
							  bus-width = <2>;
							  remote-endpoint = <&rbpcv2_csi_in2>;
						   };
						};
					 };
				  };
				};
				i2c@3180000 {											//M222 CSI 23				
				  dione_ir_cam3: xenics_dione_ir_c@0e {
					 compatible = "xenics,dioneir";
					 reg = <0x0e>;
					 fpga-address = <0x5a 0x5b 0x5c 0x5d>;

					 // V4L2 device node location
					 devnode = "video3";

					 /* Physical dimensions of sensor */
					 physical_w = "7.680";
					 physical_h = "5.760";

					 sensor_model = "dione_ir";

					 use_sensor_mode_id = "false";

					 mode0 { /* DIONE_IR_MODE_640x480_60FPS */
						mclk_khz = "24000";
						num_lanes = "2";
						tegra_sinterface = "serial_c";
						phy_mode = "DPHY";
						discontinuous_clk = "no";
						dpcm_enable = "false";
						cil_settletime = "0";

						active_w = "640";
						active_h = "480";
						mode_type = "rgb";
						pixel_phase = "rgb888";
						csi_pixel_bit_depth = "24";
						readout_orientation = "0";
						line_length = "694";
						/* inherent_gain = "1"; */
						/* mclk_multiplier = "9.33"; */
						pix_clk_hz = "20000000";

						/* unused */
						gain_factor = "16";
						exposure_factor = "1000000";
						min_gain_val = "16"; /* 1.00x */
						max_gain_val = "170"; /* 10.66x */
						step_gain_val = "1";
						default_gain = "16"; /* 1.00x */
						min_hdr_ratio = "1";
						max_hdr_ratio = "1";

						/* framerate */
						framerate_factor = "1000000";
						min_framerate = "40000000"; /* 40 fps */
						max_framerate = "62000000"; /* 62 fps */
						step_framerate = "1";
						default_framerate = "60020000"; /* 60.020 fps */

						/* unused */
						min_exp_time = "13"; /* us */
						max_exp_time = "683709"; /* us */
						step_exp_time = "1";
						default_exp_time = "2495"; /* us */

						embedded_metadata_height = "0";
					 };

					 mode1 { /* DIONE_IR_MODE_1280x1024_60FPS */
						mclk_khz = "24000";
						num_lanes = "2";
						tegra_sinterface = "serial_c";
						phy_mode = "DPHY";
						discontinuous_clk = "no";
						dpcm_enable = "false";
						cil_settletime = "0";

						active_w = "1280";
						active_h = "1024";
						mode_type = "rgb";
						pixel_phase = "rgb888";
						csi_pixel_bit_depth = "24";
						readout_orientation = "0";
						line_length = "1334";
						/* inherent_gain = "1"; */
						/* mclk_multiplier = "9.33"; */
						pix_clk_hz = "83000000";

						/* unused */
						gain_factor = "16";
						exposure_factor = "1000000";
						min_gain_val = "16"; /* 1.00x */
						max_gain_val = "170"; /* 10.66x */
						step_gain_val = "1";
						default_gain = "16"; /* 1.00x */
						min_hdr_ratio = "1";
						max_hdr_ratio = "1";

						/* framerate */
						framerate_factor = "1000000";
						min_framerate = "40000000"; /* 40 fps */
						max_framerate = "62000000"; /* 62 fps */
						step_framerate = "1";
						default_framerate = "60756000"; /* 60.756 fps */

						/* unused */
						min_exp_time = "13"; /* us */
						max_exp_time = "683709"; /* us */
						step_exp_time = "1";
						default_exp_time = "2495"; /* us */

						embedded_metadata_height = "0";
					 };

					 mode2 { /* DIONE_IR_MODE_320x240_60FPS */
						mclk_khz = "24000";
						num_lanes = "2";
						tegra_sinterface = "serial_c";
						phy_mode = "DPHY";
						discontinuous_clk = "no";
						dpcm_enable = "false";
						cil_settletime = "0";

						active_w = "320";
						active_h = "240";
						mode_type = "rgb";
						pixel_phase = "rgb888";
						csi_pixel_bit_depth = "24";
						readout_orientation = "0";
						line_length = "1404";
						/* inherent_gain = "1"; */
						/* mclk_multiplier = "9.33"; */
						pix_clk_hz = "20000000";

						/* unused */
						gain_factor = "16";
						exposure_factor = "1000000";
						min_gain_val = "16"; /* 1.00x */
						max_gain_val = "170"; /* 10.66x */
						step_gain_val = "1";
						default_gain = "16"; /* 1.00x */
						min_hdr_ratio = "1";
						max_hdr_ratio = "1";

						/* framerate */
						framerate_factor = "1000000";
						min_framerate = "40000000"; /* 40 fps */
						max_framerate = "62000000"; /* 62 fps */
						step_framerate = "1";
						default_framerate = "60020000"; /* 60.020 fps */

						/* unused */
						min_exp_time = "13"; /* us */
						max_exp_time = "683709"; /* us */
						step_exp_time = "1";
						default_exp_time = "2495"; /* us */

						embedded_metadata_height = "0";
					 };

					 mode3 { /* DIONE_IR_MODE_1024x768_60FPS */
						mclk_khz = "24000";
						num_lanes = "2";
						tegra_sinterface = "serial_c";
						phy_mode = "DPHY";
						discontinuous_clk = "no";
						dpcm_enable = "false";
						cil_settletime = "0";

						active_w = "1024";
						active_h = "768";
						mode_type = "rgb";
						pixel_phase = "rgb888";
						csi_pixel_bit_depth = "24";
						readout_orientation = "0";
						line_length = "1079";
						/* inherent_gain = "1"; */
						/* mclk_multiplier = "9.33"; */
						pix_clk_hz = "83000000";

						/* unused */
						gain_factor = "16";
						exposure_factor = "1000000";
						min_gain_val = "16"; /* 1.00x */
						max_gain_val = "170"; /* 10.66x */
						step_gain_val = "1";
						default_gain = "16"; /* 1.00x */
						min_hdr_ratio = "1";
						max_hdr_ratio = "1";

						/* framerate */
						framerate_factor = "1000000";
						min_framerate = "40000000"; /* 40 fps */
						max_framerate = "62000000"; /* 62 fps */
						step_framerate = "1";
						default_framerate = "60756000"; /* 60.756 fps */

						/* unused */
						min_exp_time = "13"; /* us */
						max_exp_time = "683709"; /* us */
						step_exp_time = "1";
						default_exp_time = "2495"; /* us */

						embedded_metadata_height = "0";
					 };

					 ports {
						#address-cells = <1>;
						#size-cells = <0>;
						port@0 {
						   reg = <0>;
						   xenics_dione_ir_out3: endpoint {
							  port-index = <2>;
							  bus-width = <2>;
							  remote-endpoint = <&rbpcv2_csi_in3>;
							  link-frequencies = /bits/ 64 <120000000 497000000>;
						   };
						};
					 };
				  };
				  eg_ec_cam3: eg_ec_c@16 {
					 compatible = "xenics,eg-ec-mipi";
					 reg = <0x16>;
					 status = "disabled";

					 // V4L2 device node location
					 devnode = "video3";

					 sensor_model = "eg_ec";

					 use_sensor_mode_id = "true";

					 mode0 { // EC_MODE_640x480_RAW16
						num_lanes = "2";
						tegra_sinterface = "serial_c";
						phy_mode = "DPHY";
						discontinuous_clk = "yes";
						dpcm_enable = "false";
						cil_settletime = "0";
						active_w = "640";
						active_h = "480";
						line_length = "640";
						mode_type = "raw";
						pixel_phase = "grey";
						csi_pixel_bit_depth = "16";
						pix_clk_hz = "100000000";
						embedded_metadata_height = "0";

						/* unused */
						gain_factor = "16";
						exposure_factor = "1000000";
						min_gain_val = "16"; /* 1.00x */
						max_gain_val = "170"; /* 10.66x */
						step_gain_val = "1";
						default_gain = "16"; /* 1.00x */
						min_hdr_ratio = "1";
						max_hdr_ratio = "1";

						/* framerate */
						framerate_factor = "1000000";
						min_framerate = "40000000"; /* 40 fps */
						max_framerate = "62000000"; /* 62 fps */
						step_framerate = "1";
						default_framerate = "60756000"; /* 60.756 fps */

						/* unused */
						min_exp_time = "13"; /* us */
						max_exp_time = "683709"; /* us */
						step_exp_time = "1";
						default_exp_time = "2495"; /* us */
					 };
					 mode1 { // EC_MODE_640x480_RGB888
						num_lanes = "2";
						tegra_sinterface = "serial_c";
						phy_mode = "DPHY";
						discontinuous_clk = "yes";
						dpcm_enable = "false";
						cil_settletime = "0";
						active_w = "640";
						active_h = "480";
						line_length = "640";
						mode_type = "rgb";
						pixel_phase = "rgb888";
						csi_pixel_bit_depth = "24";
						pix_clk_hz = "100000000";
						embedded_metadata_height = "0";

						/* unused */
						gain_factor = "16";
						exposure_factor = "1000000";
						min_gain_val = "16"; /* 1.00x */
						max_gain_val = "170"; /* 10.66x */
						step_gain_val = "1";
						default_gain = "16"; /* 1.00x */
						min_hdr_ratio = "1";
						max_hdr_ratio = "1";

						/* framerate */
						framerate_factor = "1000000";
						min_framerate = "40000000"; /* 40 fps */
						max_framerate = "62000000"; /* 62 fps */
						step_framerate = "1";
						default_framerate = "60756000"; /* 60.756 fps */

						/* unused */
						min_exp_time = "13"; /* us */
						max_exp_time = "683709"; /* us */
						step_exp_time = "1";
						default_exp_time = "2495"; /* us */
					 };
					 mode2 { // EC_MODE_640x480_YUYV
						num_lanes = "2";
						tegra_sinterface = "serial_c";
						phy_mode = "DPHY";
						discontinuous_clk = "yes";
						dpcm_enable = "false";
						cil_settletime = "0";
						active_w = "640";
						active_h = "480";
						line_length = "640";
						mode_type = "yuv";
						pixel_phase = "yuyv";
						csi_pixel_bit_depth = "16";
						pix_clk_hz = "100000000";
						embedded_metadata_height = "0";

						/* unused */
						gain_factor = "16";
						exposure_factor = "1000000";
						min_gain_val = "16"; /* 1.00x */
						max_gain_val = "170"; /* 10.66x */
						step_gain_val = "1";
						default_gain = "16"; /* 1.00x */
						min_hdr_ratio = "1";
						max_hdr_ratio = "1";

						/* framerate */
						framerate_factor = "1000000";
						min_framerate = "40000000"; /* 40 fps */
						max_framerate = "62000000"; /* 62 fps */
						step_framerate = "1";
						default_framerate = "60756000"; /* 60.756 fps */

						/* unused */
						min_exp_time = "13"; /* us */
						max_exp_time = "683709"; /* us */
						step_exp_time = "1";
						default_exp_time = "2495"; /* us */
					 };
					 mode3 { // EC_MODE_1280x1024_RAW16
						num_lanes = "2";
						tegra_sinterface = "serial_c";
						phy_mode = "DPHY";
						discontinuous_clk = "yes";
						dpcm_enable = "false";
						cil_settletime = "0";
						active_w = "1280";
						active_h = "1024";
						line_length = "1280";
						mode_type = "raw";
						pixel_phase = "grey";
						csi_pixel_bit_depth = "16";
						pix_clk_hz = "133333336";
						embedded_metadata_height = "0";

						/* unused */
						gain_factor = "16";
						exposure_factor = "1000000";
						min_gain_val = "16"; /* 1.00x */
						max_gain_val = "170"; /* 10.66x */
						step_gain_val = "1";
						default_gain = "16"; /* 1.00x */
						min_hdr_ratio = "1";
						max_hdr_ratio = "1";

						/* framerate */
						framerate_factor = "1000000";
						min_framerate = "40000000"; /* 40 fps */
						max_framerate = "62000000"; /* 62 fps */
						step_framerate = "1";
						default_framerate = "60756000"; /* 60.756 fps */

						/* unused */
						min_exp_time = "13"; /* us */
						max_exp_time = "683709"; /* us */
						step_exp_time = "1";
						default_exp_time = "2495"; /* us */
					 };
					 mode4 { // EC_MODE_1280x1024_RGB888
						num_lanes = "2";
						tegra_sinterface = "serial_c";
						phy_mode = "DPHY";
						discontinuous_clk = "yes";
						dpcm_enable = "false";
						cil_settletime = "0";
						active_w = "1280";
						active_h = "1024";
						line_length = "1280";
						mode_type = "rgb";
						pixel_phase = "rgb888";
						csi_pixel_bit_depth = "24";
						pix_clk_hz = "100000000";
						embedded_metadata_height = "0";

						/* unused */
						gain_factor = "16";
						exposure_factor = "1000000";
						min_gain_val = "16"; /* 1.00x */
						max_gain_val = "170"; /* 10.66x */
						step_gain_val = "1";
						default_gain = "16"; /* 1.00x */
						min_hdr_ratio = "1";
						max_hdr_ratio = "1";

						/* framerate */
						framerate_factor = "1000000";
						min_framerate = "40000000"; /* 40 fps */
						max_framerate = "62000000"; /* 62 fps */
						step_framerate = "1";
						default_framerate = "60756000"; /* 60.756 fps */

						/* unused */
						min_exp_time = "13"; /* us */
						max_exp_time = "683709"; /* us */
						step_exp_time = "1";
						default_exp_time = "2495"; /* us */
					 };
					 mode5 { // EC_MODE_1280x1024_YUYV
						num_lanes = "2";
						tegra_sinterface = "serial_c";
						phy_mode = "DPHY";
						discontinuous_clk = "yes";
						dpcm_enable = "false";
						cil_settletime = "0";
						active_w = "1280";
						active_h = "1024";
						line_length = "1280";
						mode_type = "yuv";
						pixel_phase = "yuyv";
						csi_pixel_bit_depth = "16";
						pix_clk_hz = "133333336";
						embedded_metadata_height = "0";

						/* unused */
						gain_factor = "16";
						exposure_factor = "1000000";
						min_gain_val = "16"; /* 1.00x */
						max_gain_val = "170"; /* 10.66x */
						step_gain_val = "1";
						default_gain = "16"; /* 1.00x */
						min_hdr_ratio = "1";
						max_hdr_ratio = "1";

						/* framerate */
						framerate_factor = "1000000";
						min_framerate = "40000000"; /* 40 fps */
						max_framerate = "62000000"; /* 62 fps */
						step_framerate = "1";
						default_framerate = "60756000"; /* 60.756 fps */

						/* unused */
						min_exp_time = "13"; /* us */
						max_exp_time = "683709"; /* us */
						step_exp_time = "1";
						default_exp_time = "2495"; /* us */
					 };
					ports {
						#address-cells = <1>;
						#size-cells = <0>;
						port@0 {
						   reg = <0>;
						   eg_ec_out3: endpoint {
							  port-index = <2>;
							  bus-width = <2>;
							  remote-endpoint = <&rbpcv2_csi_in3>;
						   };
						};
					};
				};
			  };
		   };
	   };
   };

	// Disable other cameras 
	fragment@1 {
		target-path = "/bus@0/i2c@c240000/rbpcv2_imx219_g@10";
		__overlay__ {
		 status = "disabled";
		};
	};
	fragment@2 {
		target-path = "/bus@0/i2c@c250000/rbpcv2_imx219_e@10";
		__overlay__ {
		 status = "disabled";
		};
	};
	fragment@3 {
		target-path = "/bus@0/i2c@31e0000/rbpcv2_imx219_a@10";
		__overlay__ {
		 status = "disabled";
		};
	};
	fragment@4 {
		target-path = "/bus@0/i2c@3180000/rbpcv2_imx219_c@10";
		__overlay__ {
		 status = "disabled";
		};
	};


};


